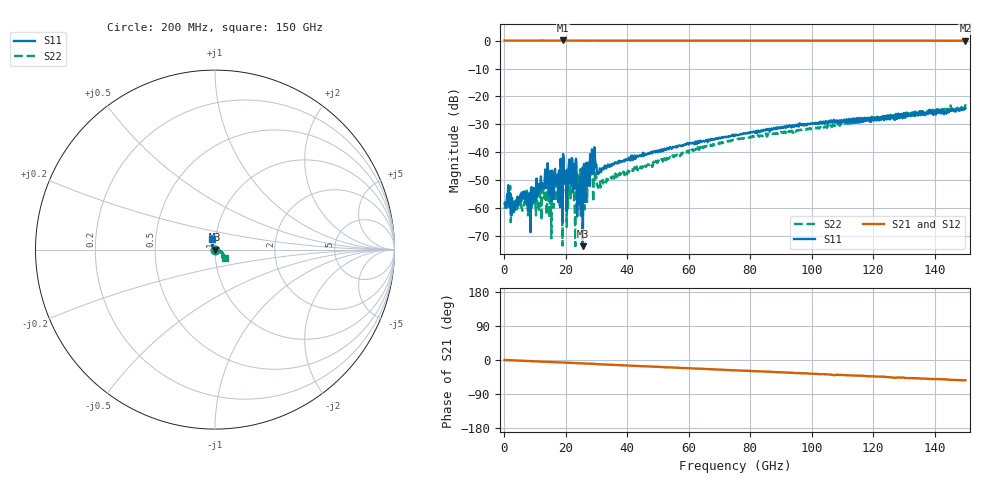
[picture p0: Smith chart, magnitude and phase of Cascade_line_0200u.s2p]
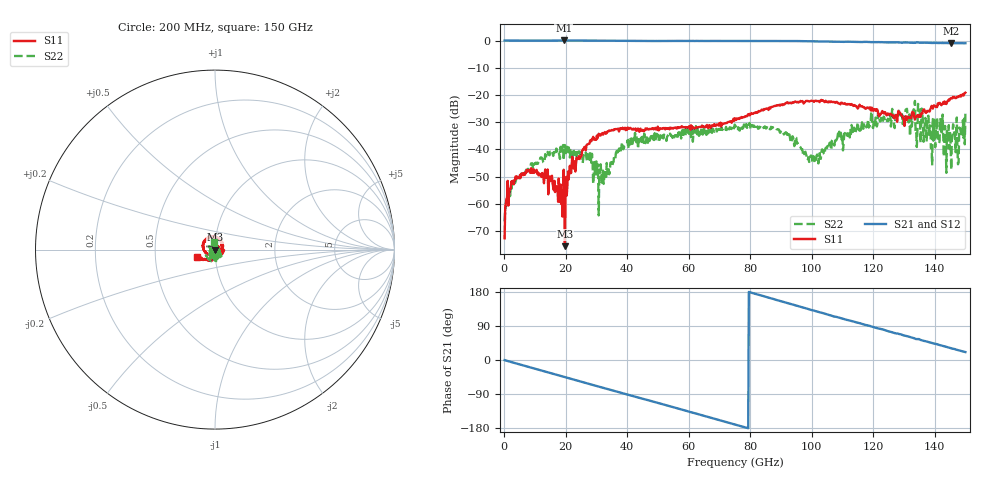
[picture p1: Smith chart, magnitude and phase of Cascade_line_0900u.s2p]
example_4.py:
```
# -*- coding: utf-8 -*-
"""
Example 4 to demonstarte how to analyze the statistical performance of mTRL 
calibration using measured data (for simplicity, I'm unisg data from ex-1)
"""

# part of python standard library
import os
import timeit

# need to be installed via pip
import skrf as rf      # for RF stuff
import numpy as np
import scipy as sp
import matplotlib.pyplot as plt   # for plotting

# my script (MultiCal.py and TUGmTRL.py must also be in same folder)
from mTRL import mTRL

def plot_2x2(NW, f_units='ghz', title='mTRL'):
    fig, axs = plt.subplots(2,2)
    NW.frequency.unit = f_units
    for inx in NW.port_tuples:
        m = inx[0]
        n = inx[1]
        NW.plot_s_db(m=m, n=n, ax=axs[inx])
    fig.suptitle(title)
    fig.tight_layout(pad=1.08)

def plot_2x2_2(NW, fig, axs, f_units='ghz', name='mTRL', title='mTRL'):
    NW.frequency.unit = f_units
    NW.name = name
    for inx in NW.port_tuples:
        m = inx[0]
        n = inx[1]
        NW.plot_s_db(m=m, n=n, ax=axs[inx])
    fig.suptitle(title)
    fig.tight_layout(pad=1.08)

def add_white_noise(NW, sigma=0.01):
    # add white noise to a network's S-paramters
    freq  = NW.frequency
    noise = (np.random.standard_normal((len(freq.f),2,2)) 
             + 1j*np.random.standard_normal((len(freq.f),2,2)))*sigma
    S = NW.s + noise
    return rf.Network(frequency=freq, s=S)

def add_phase_error(NW, sigma=1):
    # add gaussian phase noise (in degrees) to a network's S-paramters
    freq  = NW.frequency
    phase_noise = np.random.standard_normal((len(freq.f),2,2))*sigma
    S = abs(NW.s)*np.exp(1j*np.deg2rad(np.angle(NW.s, deg=True) + phase_noise))
    
    return rf.Network(frequency=freq, s=S)

# main script
if __name__ == '__main__':
    
    # load the measurements
    # files' path are reference to script's path
    s2p_path = os.path.dirname(os.path.realpath(__file__)) + '\\s2p_example_1\\'
    
    # Calibration standards
    L1    = rf.Network(s2p_path + 'Cascade_line_0200u.s2p')
    L2    = rf.Network(s2p_path + 'Cascade_line_0450u.s2p')
    L3    = rf.Network(s2p_path + 'Cascade_line_0900u.s2p')
    L4    = rf.Network(s2p_path + 'Cascade_line_1800u.s2p')
    SHORT = rf.Network(s2p_path + 'Cascade_short.s2p')
    
    # Verification lines (not part of mTRL)
    L5    = rf.Network(s2p_path + 'Cascade_line_3500u.s2p')
    L6    = rf.Network(s2p_path + 'Cascade_line_5250u.s2p')
    
    lines = [L1, L2, L3, L4]
    line_lengths = [200e-6, 450e-6, 900e-6, 1800e-6]
    reflect = [SHORT]
    reflect_est = [-1]
    reflect_offset = [0]
    
    # DUT noisless
    cal = mTRL(lines=lines, line_lengths=line_lengths, reflect=reflect, 
                   reflect_est=reflect_est, reflect_offset=reflect_offset, ereff_est=5+0j)
    dut_meas = L5
    cal.run_tug()
    dut = cal.apply_cal(dut_meas)
    print('\n Noiseless case done.\n\n')
    
    # Monte Carlo Analysis
    M = 10 # number of trials
    sigma_phi = 15
    sigma_noise = 0.1
    NIST_ntws = []
    TUG_ntws  = []
    for inx in range(M):
        # addituve noise
        #lines_n   = [add_white_noise(NW, sigma_noise) for NW in lines]
        #reflect_n = [add_white_noise(NW, sigma_noise) for NW in reflect]
        
        # phase error
        lines_n   = [add_phase_error(NW, sigma_phi) for NW in lines]
        reflect_n = [add_phase_error(NW, sigma_phi) for NW in reflect]
        
        # calibration object
        cal = mTRL(lines=lines_n, line_lengths=line_lengths, reflect=reflect_n, 
                   reflect_est=reflect_est, reflect_offset=reflect_offset, ereff_est=5+0j)
            
        # cal using NIST MultiCal mTRL
        cal.run_multical()    
        NIST_ntws.append( cal.apply_cal(dut_meas) )
        
        # cal using TUG mTRL
        cal.run_tug()
        TUG_ntws.append( cal.apply_cal(dut_meas) )
        
        print(f'\n Index: {inx+1} out of {M} done.')
    
    NIST_ntws = rf.NetworkSet(NIST_ntws)
    TUG_ntws = rf.NetworkSet(TUG_ntws)
    
    # mean error NIST vs. TUG
    fig, axs = plt.subplots(2,2)
    plot_2x2_2((NIST_ntws - dut).mean_s, fig, axs, 
               name='NIST', title='Mean-Error: NIST vs. TUG mTRL')
    plot_2x2_2((TUG_ntws - dut).mean_s, fig, axs, 
               name='TUG', title='Mean-Error: NIST vs. TUG mTRL')
    
    plt.show()
    
# EOF
```
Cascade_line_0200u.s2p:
!  2-Port S-parameters saved by WinCal
! VAR MeasName=S-Parameters (CALIBRATED_DATA) read from VNA (MS4647B)
! VAR MeasDate=16-Sep-21 11:50:06
! VAR NAME=1ps_200u
! VAR FILENAME=1ps_200u.S2P
! VAR DATE=16-Sep-21 11:50:06
! VAR PHYS_PORTS=1,2
! VAR ObjTypeName=DATASET
! VAR IndexType=Frequency
# Hz S RI R 50
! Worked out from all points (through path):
!   750 points, 200 MHz to 150 GHz, reference 50 ohm
!   highest |S21| = 0.03 dB at 19.2 GHz (marker M1); lowest = -0.1 dB at 150 GHz (marker M2)
!   group delay of S21, straight-line fit = 1 ps
!   lowest |S11| = -73.5 dB at 25.6 GHz (marker M3), VSWR 1.00, Z = 50 - j0.00162 ohm
!   |S11| at or under -10 dB: start of sweep to end of sweep
!   |S22| runs from -73.5 to -22.8 dB; largest |S21 - S12| = 0.045
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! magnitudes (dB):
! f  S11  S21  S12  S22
! 200 MHz  -58.3  0.0  0.0  -60.2
! 8 GHz  -57.9  0.0  0.0  -60.4
! 13 GHz  -52.8  0.0  0.0  -52.7
! 15.2 GHz  -46.6  0.0  0.0  -54.3
! 17.6 GHz  -57.8  0.0  0.0  -49.9
! 19.2 GHz  -40.6  0.0  0.0  -44.0
! 25.6 GHz  -73.5  0.0  0.0  -54.0
! 29.2 GHz  -47.6  0.0  0.0  -45.7
! 31 GHz  -47.3  0.0  0.0  -50.2
! 75.2 GHz  -33.6  0.0  0.0  -35.5
! 150 GHz  -24.1  -0.1  -0.1  -22.8
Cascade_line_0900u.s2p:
!  2-Port S-parameters saved by WinCal
! VAR MeasName=S-Parameters (CALIBRATED_DATA) read from VNA (MS4647B)
! VAR MeasDate=16-Sep-21 11:37:52
! VAR NAME=7ps_900u
! VAR FILENAME=7ps_900u.S2P
! VAR DATE=16-Sep-21 11:37:52
! VAR PHYS_PORTS=1,2
! VAR ObjTypeName=DATASET
! VAR IndexType=Frequency
# Hz S RI R 50
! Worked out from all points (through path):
!   750 points, 200 MHz to 150 GHz, reference 50 ohm
!   highest |S21| = 0.02 dB at 19.4 GHz (marker M1); lowest = -1.0 dB at 145.4 GHz (marker M2)
!   group delay of S21, straight-line fit = 6.3 ps
!   lowest |S11| = -75.6 dB at 19.8 GHz (marker M3), VSWR 1.00, Z = 50 + j0.00275 ohm
!   |S11| at or under -10 dB: start of sweep to end of sweep
!   |S22| runs from -66.5 to -22.2 dB; largest |S21 - S12| = 0.037
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2e8  0.000231 1.05e-05  0.9999 -0.00702  0.9993 -0.00768  0.000364 0.000302
7.6e9  0.00349 0.00179  0.951 -0.2961  0.9518 -0.2957  0.00406 -3.35e-05
1.94e10  -0.00292 0.00303  0.7212 -0.6964  0.7225 -0.6972  0.00308 -0.00545
1.98e10  0.000163 2.75e-05  0.7089 -0.7083  0.7106 -0.7088  0.005 -0.0109
3.14e10  0.0011 0.018  0.3114 -0.9388  0.308 -0.9412  0.00307 -0.00434
7.52e10  -0.0166 -0.0311  -0.9695 -0.164  -0.9691 -0.1537  -0.00762 -0.0262
1.008e11  -0.0441 0.0603  -0.6282 0.7387  -0.6146 0.7483  -0.000145 0.00711
1.11e11  0.00539 0.0674  -0.2777 0.9072  -0.2651 0.9122  0.0159 -0.00783
1.33e11  0.0163 -0.0439  0.4761 0.7684  0.4917 0.7569  0.0163 -0.0491
1.454e11  -0.0658 -0.0583  0.7632 0.4552  0.7772 0.4487  -0.00406 0.00105
1.5e11  -0.102 -0.0412  0.8327 0.3187  0.8359 0.304  -0.00519 0.0448
